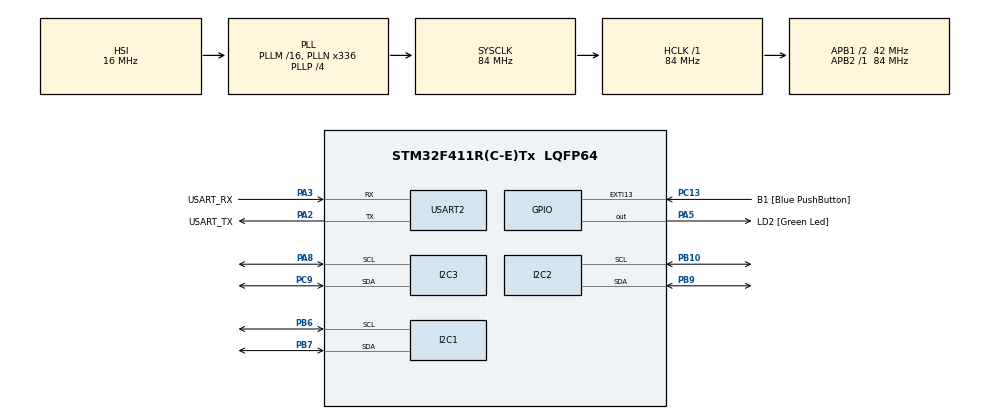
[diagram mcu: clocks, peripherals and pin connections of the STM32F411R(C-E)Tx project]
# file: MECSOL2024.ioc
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I2C1.I2C_Mode=I2C_Fast
I2C2.I2C_Mode=I2C_Fast
I2C3.I2C_Mode=I2C_Fast
Mcu.Family=STM32F4
Mcu.Name=STM32F411R(C-E)Tx
Mcu.Package=LQFP64
NVIC.PriorityGroup=NVIC_PRIORITYGROUP_0
PA13.GPIO_Label=TMS
PA13.Mode=Serial_Wire
PA13.Signal=SYS_JTMS-SWDIO
PA14.GPIO_Label=TCK
PA14.Mode=Serial_Wire
PA14.Signal=SYS_JTCK-SWCLK
PA2.GPIO_Label=USART_TX
PA2.Mode=Asynchronous
PA2.Signal=USART2_TX
PA3.GPIO_Label=USART_RX
PA3.Mode=Asynchronous
PA3.Signal=USART2_RX
PA5.GPIO_Label=LD2 [Green Led]
PA5.Signal=GPIO_Output
PA8.Mode=I2C
PA8.Signal=I2C3_SCL
PB10.Mode=I2C
PB10.Signal=I2C2_SCL
PB3.GPIO_Label=SWO
PB3.Signal=SYS_JTDO-SWO
PB6.Mode=I2C
PB6.Signal=I2C1_SCL
PB7.Mode=I2C
PB7.Signal=I2C1_SDA
PB9.Mode=I2C
PB9.Signal=I2C2_SDA
PC13-ANTI_TAMP.GPIO_Label=B1 [Blue PushButton]
PC13-ANTI_TAMP.GPIO_ModeDefaultEXTI=GPIO_MODE_IT_FALLING
PC13-ANTI_TAMP.Signal=GPXTI13
PC14-OSC32_IN.Mode=LSE-External-Oscillator
PC14-OSC32_IN.Signal=RCC_OSC32_IN
PC15-OSC32_OUT.Mode=LSE-External-Oscillator
PC15-OSC32_OUT.Signal=RCC_OSC32_OUT
PC9.Mode=I2C
PC9.Signal=I2C3_SDA
PH0\ -\ OSC_IN.Mode=HSE-External-Clock-Source
PH0\ -\ OSC_IN.Signal=RCC_OSC_IN
PH1\ -\ OSC_OUT.Mode=HSE-External-Clock-Source
PH1\ -\ OSC_OUT.Signal=RCC_OSC_OUT
ProjectManager.HeapSize=0x200
ProjectManager.StackSize=0x400
ProjectManager.TargetToolchain=STM32CubeIDE
RCC.48MHZClocksFreq_Value=84000000
RCC.AHBFreq_Value=84000000
RCC.APB1CLKDivider=RCC_HCLK_DIV2
RCC.APB1Freq_Value=42000000
RCC.APB1TimFreq_Value=84000000
RCC.APB2Freq_Value=84000000
RCC.APB2TimFreq_Value=84000000
RCC.CortexFreq_Value=84000000
RCC.FLatency-AdvancedSettings=FLASH_LATENCY_2
RCC.HCLKFreq_Value=84000000
RCC.HSE_VALUE=8000000
RCC.HSI_VALUE=16000000
RCC.PLLN=336
RCC.PLLP=RCC_PLLP_DIV4
RCC.SYSCLKFreq_VALUE=84000000
RCC.SYSCLKSource=RCC_SYSCLKSOURCE_PLLCLK
RCC.VCOOutputFreq_Value=336000000
USART2.VirtualMode=VM_ASYNC
board=NUCLEO-F411RE

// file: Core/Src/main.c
/* USER CODE BEGIN Header */
/**
  ******************************************************************************
  * @file           : main.c
  * @brief          : Main program body
  ******************************************************************************
  * @attention
  *
  * Copyright (c) 2024 STMicroelectronics.
  * All rights reserved.
  *
  * This software is licensed under terms that can be found in the LICENSE file
  * in the root directory of this software component.
  * If no LICENSE file comes with this software, it is provided AS-IS.
  *
  ******************************************************************************
  */
/* USER CODE END Header */
#include "main.h"
#include "i2c.h"
#include "usart.h"
#include "gpio.h"

/* USER CODE BEGIN Includes */
#include "mpu6050.h"
/* USER CODE END Includes */

/* USER CODE BEGIN PV */
MPU6050_t MPU60501;
MPU6050_t MPU60502;
MPU6050_t MPU60503;
MPU6050_t MPU60504;
double time;
#define MAX_INIT_RETRIES 100
int retries;

/* USER CODE END PV */

void SystemClock_Config(void);
/* USER CODE BEGIN PFP */
#define PUTCHAR_PROTOTYPE int __io_putchar(int ch)
/* USER CODE END PFP */

int main(void)
{

  /* MCU Configuration--------------------------------------------------------*/

  /* Reset of all peripherals, Initializes the Flash interface and the Systick. */
  HAL_Init();

  /* Configure the system clock */
  SystemClock_Config();

  /* Initialize all configured peripherals */
  MX_GPIO_Init();
  MX_USART2_UART_Init();
  MX_I2C1_Init();
  MX_I2C2_Init();
  MX_I2C3_Init();
  /* USER CODE BEGIN 2 */

  HAL_I2C_Init(&hi2c1);

  while (MPU6050_Init(&MPU60501, &hi2c1, MPU6050_ADDR) == 1 && retries < MAX_INIT_RETRIES) {
	  HAL_Delay(100);
	  retries++;
  }

  HAL_I2C_Init(&hi2c2);
  while (MPU6050_Init(&MPU60502, &hi2c2, MPU6050_ADDR) == 1 && retries < MAX_INIT_RETRIES) {
	  HAL_Delay(100);
	  retries++;
  }

  HAL_I2C_Init(&hi2c3);
  while (MPU6050_Init(&MPU60503, &hi2c3, MPU6050_ADDR) == 1 && retries < MAX_INIT_RETRIES) {
	  HAL_Delay(100);
	  retries++;
  }
  while (MPU6050_Init(&MPU60504, &hi2c3, MPU6050_ADDR+2) == 1 && retries < MAX_INIT_RETRIES) {
	  HAL_Delay(100);
	  retries++;
  }
  /* USER CODE END 2 */

  /* Infinite loop */
  while (1)
  {

    /* USER CODE BEGIN 3 */
	  MPU6050_Read_All(&hi2c1, &MPU60501);
	  MPU6050_Read_All(&hi2c2, &MPU60502);
	  MPU6050_Read_All(&hi2c3, &MPU60503);
	  MPU6050_Read_All(&hi2c3, &MPU60504);
//	  printf("%d\t",MPU60501.Accel_Z_RAW);
//	  printf("%d\t",MPU60502.Accel_Z_RAW);
//	  printf("%d\t",MPU60503.Accel_Z_RAW);
//	  printf("%d\t\n\r",MPU60504.Accel_Z_RAW);
	  time = (double) (HAL_GetTick()) / 1000;
  }
  /* USER CODE END 3 */
}

void SystemClock_Config(void)
{
  RCC_OscInitTypeDef RCC_OscInitStruct = {0};
  RCC_ClkInitTypeDef RCC_ClkInitStruct = {0};

  /** Configure the main internal regulator output voltage
  */
  __HAL_RCC_PWR_CLK_ENABLE();
  __HAL_PWR_VOLTAGESCALING_CONFIG(PWR_REGULATOR_VOLTAGE_SCALE1);

  /** Initializes the RCC Oscillators according to the specified parameters
  * in the RCC_OscInitTypeDef structure.
  */
  RCC_OscInitStruct.OscillatorType = RCC_OSCILLATORTYPE_HSI;
  RCC_OscInitStruct.HSIState = RCC_HSI_ON;
  RCC_OscInitStruct.HSICalibrationValue = RCC_HSICALIBRATION_DEFAULT;
  RCC_OscInitStruct.PLL.PLLState = RCC_PLL_ON;
  RCC_OscInitStruct.PLL.PLLSource = RCC_PLLSOURCE_HSI;
  RCC_OscInitStruct.PLL.PLLM = 16;
  RCC_OscInitStruct.PLL.PLLN = 336;
  RCC_OscInitStruct.PLL.PLLP = RCC_PLLP_DIV4;
  RCC_OscInitStruct.PLL.PLLQ = 4;
  if (HAL_RCC_OscConfig(&RCC_OscInitStruct) != HAL_OK)
  {
    Error_Handler();
  }

  /** Initializes the CPU, AHB and APB buses clocks
  */
  RCC_ClkInitStruct.ClockType = RCC_CLOCKTYPE_HCLK|RCC_CLOCKTYPE_SYSCLK
                              |RCC_CLOCKTYPE_PCLK1|RCC_CLOCKTYPE_PCLK2;
  RCC_ClkInitStruct.SYSCLKSource = RCC_SYSCLKSOURCE_PLLCLK;
  RCC_ClkInitStruct.AHBCLKDivider = RCC_SYSCLK_DIV1;
  RCC_ClkInitStruct.APB1CLKDivider = RCC_HCLK_DIV2;
  RCC_ClkInitStruct.APB2CLKDivider = RCC_HCLK_DIV1;

  if (HAL_RCC_ClockConfig(&RCC_ClkInitStruct, FLASH_LATENCY_2) != HAL_OK)
  {
    Error_Handler();
  }
}

/* USER CODE BEGIN 4 */
PUTCHAR_PROTOTYPE
{
  /* Place your implementation of fputc here */
  /* e.g. write a character to the USART1 and Loop until the end of transmission */
  HAL_UART_Transmit(&huart2, (uint8_t *)&ch, 1, 0xFFFF);

  return ch;
}
/* USER CODE END 4 */

void Error_Handler(void)
{
  __disable_irq();
  while (1)
  {
  }
}
